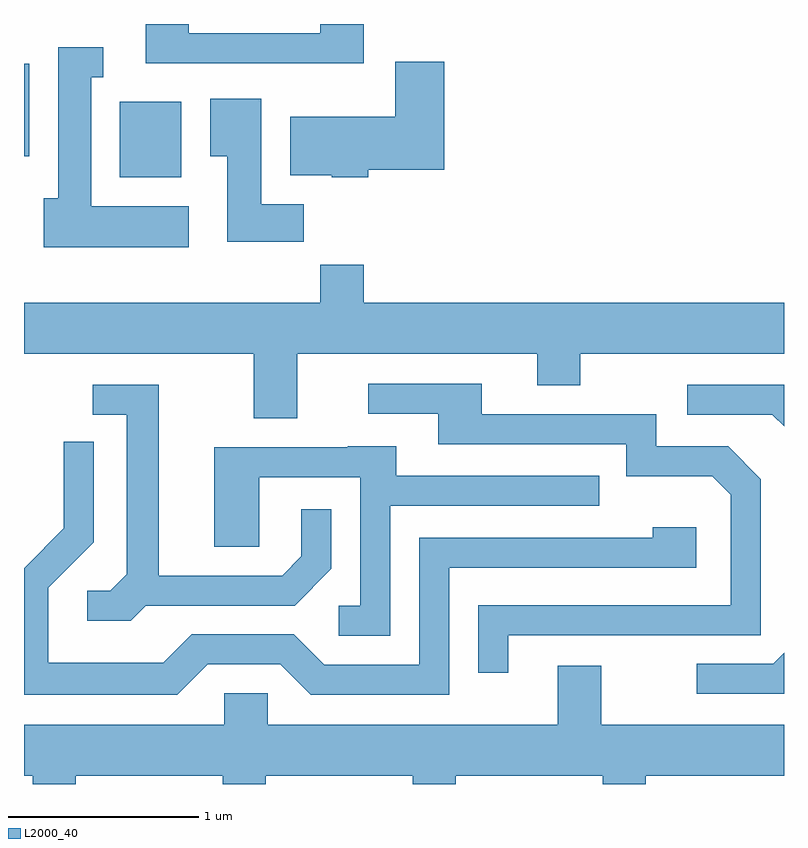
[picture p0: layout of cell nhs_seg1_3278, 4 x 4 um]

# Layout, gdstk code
import gdstk
lib = gdstk.Library(unit=1e-6, precision=1e-09)
def R(c, l, rs):  # rectangles x0, y0, x1, y1
    for r in rs: c.add(gdstk.rectangle(r[:2], r[2:], *l))
def P(c, l, *ps):  # polygons
    for p in ps: c.add(gdstk.Polygon(p, *l))
L2000_40 = (2000, 40)

nhs_seg1_3278 = lib.new_cell('nhs_seg1_3278')
R(nhs_seg1_3278, L2000_40, [(284.116,944.906,284.439,945.304), (283.611,945.016,283.639,945.504)])
P(nhs_seg1_3278, L2000_40, [(285.399,945.712),(285.171,945.712),(285.171,945.664),(284.479,945.664),(284.479,945.712),(284.251,945.712),(284.251,945.506),(285.399,945.506)],
  [(284.479,944.754),(283.964,944.754),(283.964,945.431),(284.028,945.431),(284.028,945.589),(283.791,945.589),(283.791,944.794),(283.716,944.794),(283.716,944.536),(284.479,944.536)],
  [(285.424,944.946),(285.824,944.946),(285.824,945.514),(285.566,945.514),(285.566,945.224),(285.011,945.224),(285.011,944.916),(285.23,944.916),(285.23,944.906),(285.424,944.906)],
  [(285.084,944.764),(284.859,944.764),(284.859,945.319),(284.591,945.319),(284.591,945.016),(284.681,945.016),(284.681,944.566),(285.084,944.566)],
  [(285.049,943.976),(286.311,943.976),(286.311,943.811),(286.539,943.811),(286.539,943.976),(287.611,943.976),(287.611,944.244),(285.399,944.244),(285.399,944.444),(285.171,944.444),(285.171,944.244),(283.611,944.244),(283.611,943.976),(284.821,943.976),(284.821,943.636),(285.049,943.636)],
  [(286.159,942.496),(287.489,942.496),(287.489,943.317),(287.317,943.489),(286.939,943.489),(286.939,943.659),(286.019,943.659),(286.019,943.819),(285.423,943.819),(285.423,943.661),(285.791,943.661),(285.791,943.501),(286.781,943.501),(286.781,943.331),(287.234,943.331),(287.331,943.234),(287.331,942.654),(286.001,942.654),(286.001,942.298),(286.159,942.298)],
  [(287.611,943.814),(287.103,943.814),(287.103,943.656),(287.549,943.656),(287.611,943.594)],
  [(284.252,942.651),(285.037,942.651),(285.229,942.844),(285.229,943.158),(285.071,943.158),(285.071,942.912),(284.969,942.809),(284.319,942.809),(284.319,943.814),(283.973,943.814),(283.973,943.656),(284.151,943.656),(284.151,942.817),(284.064,942.729),(283.943,942.729),(283.943,942.571),(284.172,942.571)],
  [(284.577,942.341),(284.959,942.341),(285.119,942.181),(285.849,942.181),(285.849,942.851),(287.149,942.851),(287.149,943.064),(286.921,943.064),(286.921,943.009),(285.691,943.009),(285.691,942.339),(285.192,942.339),(285.032,942.499),(284.494,942.499),(284.344,942.349),(283.739,942.349),(283.739,942.744),(283.979,942.984),(283.979,943.513),(283.821,943.513),(283.821,943.057),(283.611,942.847),(283.611,942.181),(284.417,942.181)],
  [(285.539,943.176),(286.638,943.176),(286.638,943.334),(285.569,943.334),(285.569,943.489),(285.315,943.489),(285.315,943.484),(284.611,943.484),(284.611,942.961),(284.849,942.961),(284.849,943.326),(285.381,943.326),(285.381,942.649),(285.268,942.649),(285.268,942.491),(285.539,942.491)],
  [(287.611,942.402),(287.554,942.344),(287.153,942.344),(287.153,942.186),(287.611,942.186)],
  [(283.884,941.756),(284.656,941.756),(284.656,941.712),(284.884,941.712),(284.884,941.756),(285.656,941.756),(285.656,941.712),(285.884,941.712),(285.884,941.756),(286.656,941.756),(286.656,941.712),(286.884,941.712),(286.884,941.756),(287.611,941.756),(287.611,942.024),(286.649,942.024),(286.649,942.334),(286.421,942.334),(286.421,942.024),(284.894,942.024),(284.894,942.189),(284.666,942.189),(284.666,942.024),(283.611,942.024),(283.611,941.756),(283.656,941.756),(283.656,941.712),(283.884,941.712)])

lib.write_gds('nhs_seg1_3278.gds')
